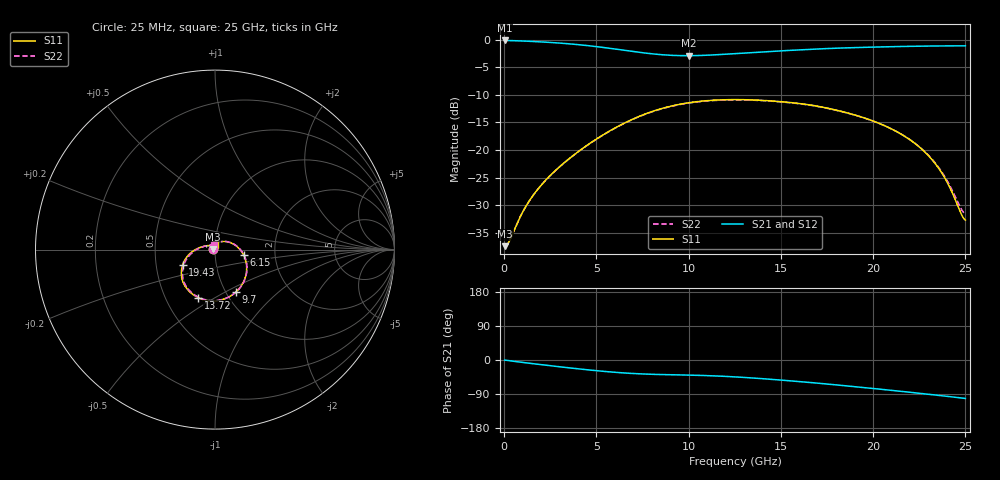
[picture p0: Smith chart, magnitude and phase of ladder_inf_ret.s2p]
! RG_s4_pwr_n4_cap2: kisi's ladder, infinite plates, return groups (Finite board 24 × 16 mm, via L1 → L4 through the GND/PWR pair L2/L3, four GND vias at 1 mm joined to L2 only (openings in the PWR plane L3), a capacitor between L2 and L3 2 mm away)
# Hz S RI R 50
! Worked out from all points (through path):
!   1000 points, 25 MHz to 25 GHz, reference 50 ohm
!   highest |S21| = -0.12 dB at 25 MHz (marker M1); lowest = -2.9 dB at 10 GHz (marker M2)
!   group delay of S21, straight-line fit = 9.74 ps
!   lowest |S11| = -37.4 dB at 50 MHz (marker M3), VSWR 1.03, Z = 48.7 + j0.19 ohm
!   |S11| at or under -10 dB: start of sweep to end of sweep
!   |S22| runs from -37.4 to -10.9 dB; largest |S21 - S12| = 0
!   S11 on the Smith chart (normalised r, x): 25 MHz: 0.97, +0.00; 6.15 GHz: 1.38, -0.09; 9.7 GHz: 1.11, -0.57; 13.72 GHz: 0.73, -0.42; 19.43 GHz: 0.69, -0.12; 25 GHz: 1.00, +0.05
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2.5e7  -0.0134 0.000895  0.9864 -0.00293  0.9864 -0.00293  -0.0134 0.000894
5e7  -0.0133 0.00196  0.9862 -0.00602  0.9862 -0.00602  -0.0133 0.00195
2.75e8  -0.0113 0.00966  0.984 -0.032  0.984 -0.032  -0.0113 0.00965
1.125e9  0.00309 0.0296  0.9657 -0.121  0.9657 -0.121  0.00294 0.0297
1.775e9  0.0182 0.039  0.9443 -0.1828  0.9443 -0.1828  0.0179 0.0392
2.825e9  0.0484 0.0453  0.898 -0.273  0.898 -0.273  0.0477 0.0458
4.2e9  0.096 0.0341  0.8182 -0.3688  0.8182 -0.3688  0.0951 0.0358
6.15e9  0.1602 -0.0316  0.6871 -0.446  0.6871 -0.446  0.1602 -0.0277
8.35e9  0.1657 -0.1637  0.579 -0.4559  0.579 -0.4559  0.1694 -0.158
9.7e9  0.1166 -0.2364  0.5536 -0.4571  0.5536 -0.4571  0.1232 -0.2313
1e10  0.1018 -0.2487  0.551 -0.4597  0.551 -0.4597  0.1089 -0.2439
1.1225e10  0.0345 -0.2802  0.5444 -0.4829  0.5444 -0.4829  0.0436 -0.2774
1.2525e10  -0.0364 -0.2844  0.5337 -0.526  0.5337 -0.526  -0.0262 -0.284
1.3725e10  -0.0925 -0.2682  0.5132 -0.5764  0.5132 -0.5764  -0.082 -0.27
1.6675e10  -0.1777 -0.1827  0.4134 -0.7089  0.4134 -0.7089  -0.1693 -0.1891
1.9425e10  -0.1796 -0.0833  0.2579 -0.8136  0.2579 -0.8136  -0.1754 -0.0908
2.085e10  -0.1549 -0.0387  0.1599 -0.8503  0.1599 -0.8503  -0.1531 -0.0453
2.2175e10  -0.1177 -0.00528  0.0598 -0.8716  0.0598 -0.8716  -0.1178 -0.00993
2.3225e10  -0.0794 0.0133  -0.0247 -0.8781  -0.0247 -0.8781  -0.0807 0.0109
2.3925e10  -0.0502 0.0207  -0.0831 -0.8765  -0.0831 -0.8765  -0.052 0.0202
2.475e10  -0.0128 0.0236  -0.1532 -0.868  -0.1532 -0.868  -0.0148 0.0257
2.5e10  -0.000914 0.0231  -0.1747 -0.8639  -0.1747 -0.8639  -0.00295 0.0261
